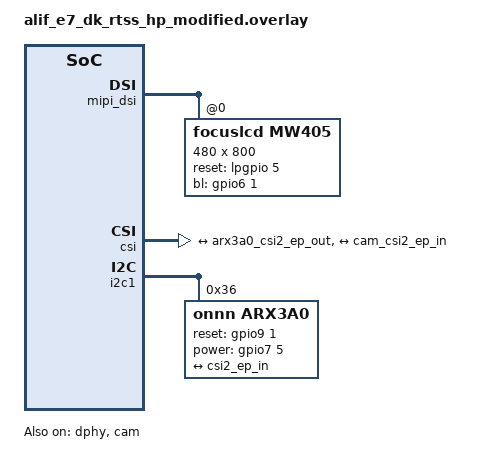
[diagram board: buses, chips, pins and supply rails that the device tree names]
#include <zephyr/dt-bindings/mipi_dsi/mipi_dsi.h>

/ {
	soc {
		cdc200: cdc200@49031000 {
			width = <480>;
			height = <800>;
			hfront-porch = <5>;
			hback-porch = <5>;
			hsync-len = <4>;
			vfront-porch = <10>;
			vback-porch = <10>;
			vsync-len = <2>;
			clock-frequency = <24364080>;
			hsync-active = <0>;
			vsync-active = <0>;
			de-active = <1>;
			pixelclk-active = <0>;
			bg-color = <0>;
			enable-l1 = <1>;
			pixel-fmt-l1 = "rgb-888";
			def-back-color-l1 = <0>;
			win-x0-l1 = <0>;
			win-y0-l1 = <0>;
			win-x1-l1 = <480>;
			win-y1-l1 = <800>;
			blend-factor1-l1 = <4>;
			blend-factor2-l1 = <5>;
			const-alpha-l1 = <0xff>;
			enable-l2 = <0>;
			pixel-fmt-l2 = "undefined";
			win-x0-l2 = <0>;
			win-y0-l2 = <0>;
			win-x1-l2 = <0>;
			win-y1-l2 = <0>;
			blend-factor1-l2 = <6>;
			blend-factor2-l2 = <7>;
			const-alpha-l2 = <0xff>;
		};

		dphy: d-phy@4903f000{
			compatible = "snps,designware-dphy";
			reg = <0x4903f000 0x40>,
				<0x49032000 0x1000>,
				<0x49033000 0x1000>;
			reg-names = "expmst_reg", "dsi_reg", "csi_reg";

			clocks = <&clockctrl ALIF_MIPI_PLLREF_CLK>;
			clock-names = "pllref-clk";

			ref-frequency = <38400000>;
			cfg-clk-frequency = <25000000>;
			status = "okay";
		};

		mipi_dsi: mipi-dsi@49032000 {
			#address-cells = <1>;
			#size-cells = <0>;
			compatible = "snps,designware-dsi";
			reg = <0x49032000 0x1000>;
			interrupts = <343 0>;
			cdc-if = <&cdc200>;
			phy-if = <&dphy>;

			clocks = <&clockctrl ALIF_DSI_CLK>, <&clockctrl ALIF_CDC200_PIX_SYST_ACLK>,
				<&clockctrl ALIF_MIPI_TXDPHY_CLK>;
			clock-names = "dsi-clk-en", "pixel-clk", "tx-dphy-clk";
			dpi-shutdn-active = <1>;
			dpi-colorm-active = <1>;
			vid-pkt-size = <480>;
			ecc-recv-en;
			crc-recv-en;
			frame-ack-en;
			status = "disabled";

			mw405: mw405@0 {
				status = "okay";
				compatible = "focuslcd,mw405";
				reg = <0>;
				reset-gpios = <&lpgpio 5 GPIO_ACTIVE_HIGH>;
				bl-gpios = <&gpio6 1 GPIO_ACTIVE_HIGH>;
				data-lanes = <2>;
				width = <480>;
				height = <800>;
				video-mode = "burst";
				command-tx-mode = "high-speed";
				pixel-format = <MIPI_DSI_PIXFMT_RGB888>;
				status = "okay";
			};
		};

		cam: cam@49030000 {
			compatible = "alif,cam";
			reg = <0x49030000 0x1000>;
			interrupts = <345 0>;
			pinctrl-0 = < &pinctrl_cam8 >;
			pinctrl-names = "default";

			fifo-wr-wmark = <0x18>;
			fifo-rd-wmark = <0x08>;
			wait-vsync;
			status = "disabled";
		};

		csi: csi@49033000 {
			compatible = "snps,designware-csi";
			reg = <0x49033000 0x1000>;
			interrupts = <344 0>;

			data-lanes = <2>;
			ipi-mode = "Camera";
			phy-if = <&dphy>;

			csi-hsa = <5>;
			csi-hbp = <10>;
			csi-hsd = <280>;
			csi-hact = <560>;
			csi-vsa = <4>;
			csi-vbp = <4>;
			csi-vfp = <4>;
			csi-vact = <560>;
		};
	};
};

&i2c1 {
	status = "okay";

	arx3a0: arx3a0@36 {
		compatible = "onnn,arx3a0";
		reg = <0x36>;
		pinctrl-0 = < &pinctrl_cam_xvclk >;
		pinctrl-names = "default";
		reset-gpios = <&gpio9 1 GPIO_ACTIVE_HIGH>;
		power-gpios = <&gpio7 5 GPIO_ACTIVE_HIGH>;

		status = "okay";

		port {
			arx3a0_csi2_ep_out: endpoint {
				remote-endpoint = <&csi2_ep_in>;
			};
		};
	};
};

&cam {
	status = "okay";
	sensor = <&arx3a0>;
	csi-bus-if = <&csi>;
	port {
		/* MIPI CSI-2 bus endpoint. */
		cam_csi2_ep_in: endpoint {
			remote-endpoint = <&csi2_ep_out>;
		};
	};
};

&csi {
	#address-cells = <1>;
	#size-cells = <0>;
	port@1 {
		reg = <1>;
		csi2_ep_in: endpoint {
			remote-endpoint = <&arx3a0_csi2_ep_out>;
		};
	};
	port@2 {
		reg = <2>;
		csi2_ep_out: endpoint {
			remote-endpoint = <&cam_csi2_ep_in>;
		};
	};
};

&mipi_dsi {
	status = "okay";
};


/ {
	chosen {
		zephyr,camera = &cam;
	};
};
